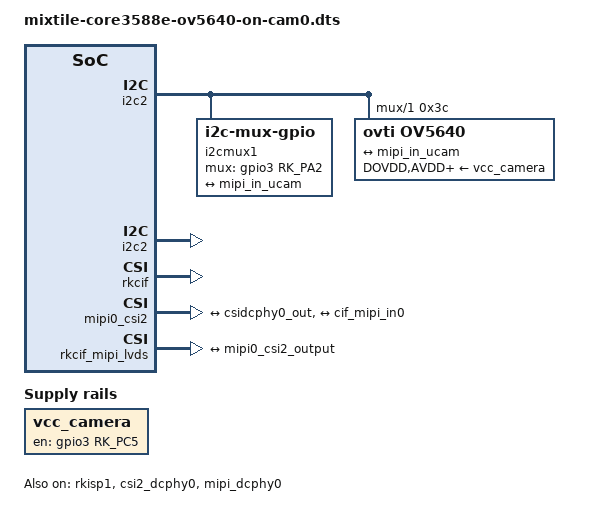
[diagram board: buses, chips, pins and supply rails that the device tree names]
/dts-v1/;
/plugin/;

#include <dt-bindings/clock/rk3588-cru.h>
#include <dt-bindings/power/rk3588-power.h>
#include <dt-bindings/gpio/gpio.h>
#include <dt-bindings/pinctrl/rockchip.h>

/ {
        fragment@0 {
                target-path = "/";
                __overlay__ {
                        vcc_camera: camera1-pwdn-gpio {
                                status = "okay";
                                compatible = "regulator-fixed";
                                regulator-name = "camera1_pwdn_gpio";
                                regulator-always-on;
                                regulator-boot-on;
                                enable-active-high;
                                gpio = <&gpio3 RK_PC5 GPIO_ACTIVE_HIGH>;
                        };

                        i2cmux1:i2cmux1 {
                                compatible = "i2c-mux-gpio";
                                #address-cells = <1>;
                                #size-cells = <0>;
                                i2c-parent = <&i2c2>;
                                mux-gpios = <&gpio3 RK_PA2 GPIO_ACTIVE_HIGH>;

                                i2c_cam1: i2c@1 {
                                        reg = <1>;
                                        #address-cells = <1>;
                                        #size-cells = <0>;
                                };
                        };
                };
        };

        fragment@1 {
                target = <&i2c2>;
                __overlay__ {
                        status = "okay";
                        pinctrl-names = "default";
                        pinctrl-0 = <&i2c2m4_xfer>;
                };
        };

        fragment@2 {
                target = <&i2cmux1>;
                __overlay__ {
                        status = "okay";
                };
        };

        fragment@3 {
                target = <&rkcif>;
                __overlay__ {
                        status = "okay";
                };
        };

        fragment@4 {
                target = <&rkcif_mmu>;
                __overlay__ {
                        status = "okay";
                };
        };

        fragment@5 {
                target = <&rkisp1>;
                __overlay__ {
                        status = "okay";
                };
        };

        fragment@6 {
                target = <&isp1_mmu>;
                __overlay__ {
                        status = "okay";
                };
        };

        fragment@7 {
                target = <&i2c_cam1>;
                __overlay__ {
                        ov5640: ov5640@3c {
                                status = "okay";
                                compatible = "ovti,ov5640";
                                reg = <0x3c>;
                                clocks = <&cru CLK_MIPI_CAMARAOUT_M1>;
                                clock-names = "xvclk";
                                DOVDD-supply = <&vcc_camera>;
                                AVDD-supply = <&vcc_camera>;
                                DVDD-supply = <&vcc_camera>;
                                pinctrl-names = "rockchip,camera_default";
                                pinctrl-0 = <&mipim1_camera1_clk>;
                                power-domains = <&power RK3588_PD_VI>;
                                rockchip,camera-module-index = <0>;
                                rockchip,camera-module-facing = "back";
                                rockchip,camera-module-name = "CameraKing";
                                rockchip,camera-module-lens-name = "CHT-842B-MD";

                                port {
                                        ucam_out: endpoint {
                                                remote-endpoint = <&mipi_in_ucam>;
                                                bus-type = <4>;
                                                data-lanes = <1 2>;
                                                clock-noncontinuous;
                                        };
                                };
                        };
                };
        };

        fragment@8 {
                target = <&csi2_dcphy0>;
                __overlay__ {
                        status = "okay";
                        ports {
                                #address-cells = <1>;
                                #size-cells = <0>;
                                port@0 {
                                        reg = <0>;
                                        #address-cells = <1>;
                                        #size-cells = <0>;
                                        mipi_in_ucam: endpoint@1 {
                                                reg = <1>;
                                                remote-endpoint = <&ucam_out>;
                                                data-lanes = <1 2>;
                                        };
                                };
                                port@1 {
                                        reg = <1>;
                                        #address-cells = <1>;
                                        #size-cells = <0>;
                                        csidcphy0_out: endpoint@0 {
                                                reg = <0>;
                                                remote-endpoint = <&mipi0_csi2_input>;
                                        };
                                };
                        };
                };
        };

        fragment@9 {
                target = <&mipi_dcphy0>;
                __overlay__ {
                        status = "okay";
                };
        };

        fragment@10 {
                target = <&mipi0_csi2>;
                __overlay__ {
                        status = "okay";
                        ports {
                                #address-cells = <1>;
                                #size-cells = <0>;
                                port@0 {
                                        reg = <0>;
                                        #address-cells = <1>;
                                        #size-cells = <0>;
                                        mipi0_csi2_input: endpoint@1 {
                                                reg = <1>;
                                                remote-endpoint = <&csidcphy0_out>;
                                        };
                                };
                                port@1 {
                                        reg = <1>;
                                        #address-cells = <1>;
                                        #size-cells = <0>;
                                        mipi0_csi2_output: endpoint@0 {
                                                reg = <0>;
                                                remote-endpoint = <&cif_mipi_in0>;
                                        };
                                };
                        };
                };
        };

        fragment@11 {
                target = <&rkcif_mipi_lvds>;
                __overlay__ {
                        status = "okay";
                        port {
                                cif_mipi_in0: endpoint {
                                        remote-endpoint = <&mipi0_csi2_output>;
                                };
                        };
                };
        };

        fragment@12 {
                target = <&rkcif_mipi_lvds_sditf>;
                __overlay__ {
                        status = "disabled";

                        port {
                                mipi1_lvds_sditf: endpoint {
                                        remote-endpoint = <&isp1_vir0>;
                                };
                        };
                };
        };

        fragment@13 {
                target = <&rkisp1_vir0>;
                __overlay__ {
                        status = "disabled";

                        port {
                                #address-cells = <1>;
                                #size-cells = <0>;

                                isp1_vir0: endpoint@0 {
                                        reg = <0>;
                                        remote-endpoint = <&mipi1_lvds_sditf>;
                                };
                        };
                };
        };
};
